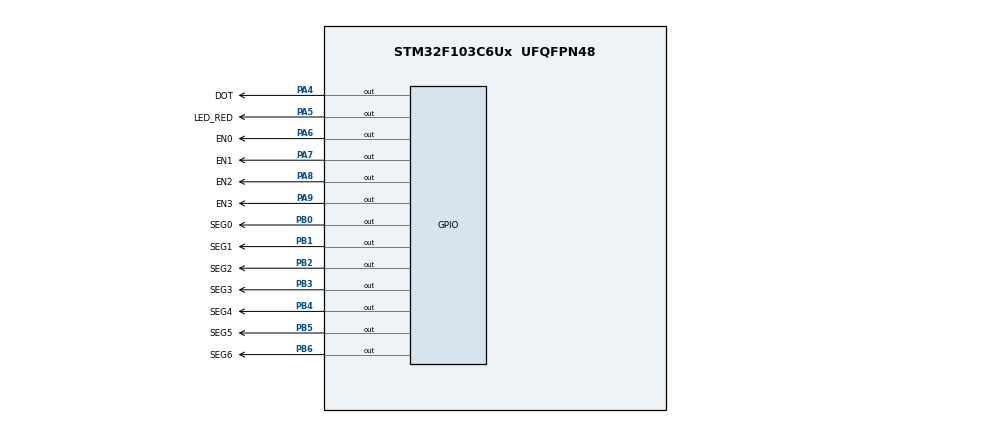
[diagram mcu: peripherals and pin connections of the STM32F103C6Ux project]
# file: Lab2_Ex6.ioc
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Mcu.Family=STM32F1
Mcu.Name=STM32F103C6Ux
Mcu.Package=UFQFPN48
NVIC.PriorityGroup=NVIC_PRIORITYGROUP_4
NVIC.TIM2_IRQn=true\:0\:0\:false\:false\:true\:false\:true
PA13.Mode=Serial_Wire
PA13.Signal=SYS_JTMS-SWDIO
PA14.Mode=Serial_Wire
PA14.Signal=SYS_JTCK-SWCLK
PA4.GPIO_Label=DOT
PA4.PinState=GPIO_PIN_SET
PA4.Signal=GPIO_Output
PA5.GPIO_Label=LED_RED
PA5.PinState=GPIO_PIN_SET
PA5.Signal=GPIO_Output
PA6.GPIO_Label=EN0
PA6.PinState=GPIO_PIN_SET
PA6.Signal=GPIO_Output
PA7.GPIO_Label=EN1
PA7.PinState=GPIO_PIN_SET
PA7.Signal=GPIO_Output
PA8.GPIO_Label=EN2
PA8.PinState=GPIO_PIN_SET
PA8.Signal=GPIO_Output
PA9.GPIO_Label=EN3
PA9.PinState=GPIO_PIN_SET
PA9.Signal=GPIO_Output
PB0.GPIO_Label=SEG0
PB0.PinState=GPIO_PIN_SET
PB0.Signal=GPIO_Output
PB1.GPIO_Label=SEG1
PB1.PinState=GPIO_PIN_SET
PB1.Signal=GPIO_Output
PB2.GPIO_Label=SEG2
PB2.PinState=GPIO_PIN_SET
PB2.Signal=GPIO_Output
PB3.GPIO_Label=SEG3
PB3.PinState=GPIO_PIN_SET
PB3.Signal=GPIO_Output
PB4.GPIO_Label=SEG4
PB4.PinState=GPIO_PIN_SET
PB4.Signal=GPIO_Output
PB5.GPIO_Label=SEG5
PB5.PinState=GPIO_PIN_SET
PB5.Signal=GPIO_Output
PB6.GPIO_Label=SEG6
PB6.PinState=GPIO_PIN_SET
PB6.Signal=GPIO_Output
ProjectManager.HeapSize=0x200
ProjectManager.StackSize=0x400
ProjectManager.TargetToolchain=STM32CubeIDE
RCC.APB1Freq_Value=8000000
RCC.APB2Freq_Value=8000000
TIM2.Period=9
TIM2.Prescaler=7999
VP_TIM2_VS_ClockSourceINT.Mode=Internal
board=custom

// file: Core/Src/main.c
/* USER CODE BEGIN Header */
/**
  ******************************************************************************
  * @file           : main.c
  * @brief          : Main program body
  *                   Lab 2 - Exercise 6 - Them software timer, bo HAL_Delay
  ******************************************************************************
  * @attention
  *
  * <h2><center>&copy; Copyright (c) 2026 STMicroelectronics.
  * All rights reserved.</center></h2>
  *
  * This software component is licensed by ST under BSD 3-Clause license,
  * the "License"; You may not use this file except in compliance with the
  * License. You may obtain a copy of the License at:
  *                        opensource.org/licenses/BSD-3-Clause
  *
  ******************************************************************************
  */
/* USER CODE END Header */
#include "main.h"

/* USER CODE BEGIN PD */
/* LED 7 doan common anode -> doan sang khi xuat muc 0 */
#define SEG_ON            GPIO_PIN_RESET
#define SEG_OFF           GPIO_PIN_SET

/* PNP: xuat muc 0 -> transistor dan -> LED 7 doan duoc cap nguon */
#define EN_ON             GPIO_PIN_RESET
#define EN_OFF            GPIO_PIN_SET

#define MAX_LED           4
#define SWITCH_TIME_MS    (1000 / MAX_LED)         /* 250 ms */
#define TICKS_SWITCH      (SWITCH_TIME_MS / 10)
#define DOT_TIME_MS       1000
#define TICKS_DOT         (DOT_TIME_MS / 10)
#define CLOCK_TICK_MS     1000                     /* nhip 1 giay cua dong ho */
/* USER CODE END PD */

TIM_HandleTypeDef htim2;

void SystemClock_Config(void);
static void MX_GPIO_Init(void);
static void MX_TIM2_Init(void);

/* USER CODE BEGIN 0 */
int index_led = 0;
int led_buffer[MAX_LED] = {0, 0, 0, 0};

int timer_counter = 0;
int dot_counter   = 0;
int dot_state     = 0;

/* --- Dong ho: gio / phut / giay --- */
int hour = 15, minute = 8, second = 50;

/* ====================== SOFTWARE TIMER ======================
   Moi lan ngat TIM2 (10 ms) thi timer_run() dem lui 1 nhip.
   Dem ve 0 thi dung co timerX_flag cho main() biet "da den han". */
#define TIMER_CYCLE   10          /* chu ky ngat TIM2, don vi ms */

int timer0_counter = 0;
int timer0_flag    = 0;

void setTimer0(int duration)
{
  timer0_counter = duration / TIMER_CYCLE;   /* doi ms -> so nhip ngat */
  timer0_flag    = 0;
}

void timer_run(void)
{
  if (timer0_counter > 0) {
    timer0_counter--;
    if (timer0_counter == 0) timer0_flag = 1;
  }
}

/* Bang ma 7 doan, bit0..bit6 = doan a..g (kieu gfedcba).
   LED common anode: doan SANG khi chan tin hieu o muc 0. */
const uint8_t SEG_CODE[10] = {
  0x3F, 0x06, 0x5B, 0x4F, 0x66, 0x6D, 0x7D, 0x07, 0x7F, 0x6F
};

void display7SEG(int num)
{
  if (num < 0 || num > 9) return;                 /* chong tran bang    */
  for (int i = 0; i < 7; i++) {                   /* SEG0..SEG6 = PB0..PB6 */
    HAL_GPIO_WritePin(SEG0_GPIO_Port, (uint16_t)(SEG0_Pin << i),
                      ((SEG_CODE[num] >> i) & 1) ? SEG_ON : SEG_OFF);
  }
}

void update7SEG(int index)
{
  /* B1: TAT het 4 LED truoc. Neu bo buoc nay, du lieu cua LED cu con
         nam tren bus SEG trong luc LED moi da sang -> bong mo (ghosting). */
  HAL_GPIO_WritePin(EN0_GPIO_Port, EN0_Pin | EN1_Pin | EN2_Pin | EN3_Pin, EN_OFF);

  /* B2: dat du lieu  ->  B3: bat DUNG 1 LED */
  switch (index) {
    case 0:  display7SEG(led_buffer[0]);
             HAL_GPIO_WritePin(EN0_GPIO_Port, EN0_Pin, EN_ON);  break;
    case 1:  display7SEG(led_buffer[1]);
             HAL_GPIO_WritePin(EN1_GPIO_Port, EN1_Pin, EN_ON);  break;
    case 2:  display7SEG(led_buffer[2]);
             HAL_GPIO_WritePin(EN2_GPIO_Port, EN2_Pin, EN_ON);  break;
    case 3:  display7SEG(led_buffer[3]);
             HAL_GPIO_WritePin(EN3_GPIO_Port, EN3_Pin, EN_ON);  break;
    default: break;
  }
}

/* Doi gio:phut thanh 4 chu so cho 4 LED 7 doan.
   So 1 chu so tu dong co so 0 o truoc, vi du 8 gio -> "08". */
void updateClockBuffer(void)
{
  led_buffer[0] = hour   / 10;
  led_buffer[1] = hour   % 10;
  led_buffer[2] = minute / 10;
  led_buffer[3] = minute % 10;
}
/* USER CODE END 0 */

int main(void)
{

  /* MCU Configuration--------------------------------------------------------*/

  /* Reset of all peripherals, Initializes the Flash interface and the Systick. */
  HAL_Init();

  /* Configure the system clock */
  SystemClock_Config();

  /* Initialize all configured peripherals */
  MX_GPIO_Init();
  MX_TIM2_Init();
  /* USER CODE BEGIN 2 */
  updateClockBuffer();
  HAL_TIM_Base_Start_IT(&htim2);

  /* Nap gio lan dau. Thieu dong nay thi timer0_counter = 0,
     timer_run() khong dem, timer0_flag khong bao gio len 1
     -> dong ho dung yen mai mai (cau hoi Report 1 cua bai 6). */
  setTimer0(CLOCK_TICK_MS);
  /* USER CODE END 2 */

  /* Infinite loop */
  /* USER CODE BEGIN WHILE */
  while (1)
  {
    /* Khong con HAL_Delay: vong lap chay lien tuc, chi lam khi den han.
       Trong luc cho, CPU hoan toan ranh de lam viec khac. */
    if (timer0_flag == 1) {
      setTimer0(CLOCK_TICK_MS);        /* hen gio cho chu ky ke tiep */

        second++;
        if (second >= 60) { second = 0; minute++; }
        if (minute >= 60) { minute = 0; hour++;   }
        if (hour   >= 24) { hour   = 0;           }
        updateClockBuffer();
    }
    /* USER CODE END WHILE */

  }
}

void SystemClock_Config(void)
{
  RCC_OscInitTypeDef RCC_OscInitStruct = {0};
  RCC_ClkInitTypeDef RCC_ClkInitStruct = {0};

  /** Initializes the RCC Oscillators according to the specified parameters
  * in the RCC_OscInitTypeDef structure.
  */
  RCC_OscInitStruct.OscillatorType = RCC_OSCILLATORTYPE_HSI;
  RCC_OscInitStruct.HSIState = RCC_HSI_ON;
  RCC_OscInitStruct.HSICalibrationValue = RCC_HSICALIBRATION_DEFAULT;
  RCC_OscInitStruct.PLL.PLLState = RCC_PLL_NONE;
  if (HAL_RCC_OscConfig(&RCC_OscInitStruct) != HAL_OK)
  {
    Error_Handler();
  }
  /** Initializes the CPU, AHB and APB buses clocks
  */
  RCC_ClkInitStruct.ClockType = RCC_CLOCKTYPE_HCLK|RCC_CLOCKTYPE_SYSCLK
                              |RCC_CLOCKTYPE_PCLK1|RCC_CLOCKTYPE_PCLK2;
  RCC_ClkInitStruct.SYSCLKSource = RCC_SYSCLKSOURCE_HSI;
  RCC_ClkInitStruct.AHBCLKDivider = RCC_SYSCLK_DIV1;
  RCC_ClkInitStruct.APB1CLKDivider = RCC_HCLK_DIV1;
  RCC_ClkInitStruct.APB2CLKDivider = RCC_HCLK_DIV1;

  if (HAL_RCC_ClockConfig(&RCC_ClkInitStruct, FLASH_LATENCY_0) != HAL_OK)
  {
    Error_Handler();
  }
}

static void MX_GPIO_Init(void)
{
  GPIO_InitTypeDef GPIO_InitStruct = {0};

  /* GPIO Ports Clock Enable */
  __HAL_RCC_GPIOA_CLK_ENABLE();
  __HAL_RCC_GPIOB_CLK_ENABLE();

  /*Configure GPIO pin Output Level */
  HAL_GPIO_WritePin(GPIOA, DOT_Pin|LED_RED_Pin|EN0_Pin
                          |EN1_Pin|EN2_Pin|EN3_Pin, GPIO_PIN_SET);

  /*Configure GPIO pin Output Level */
  HAL_GPIO_WritePin(GPIOB, SEG0_Pin|SEG1_Pin|SEG2_Pin
                          |SEG3_Pin|SEG4_Pin|SEG5_Pin
                          |SEG6_Pin, GPIO_PIN_SET);

  /*Configure GPIO pins : DOT_Pin LED_RED_Pin EN0_Pin EN1_Pin EN2_Pin EN3_Pin */
  GPIO_InitStruct.Pin = DOT_Pin|LED_RED_Pin|EN0_Pin
                          |EN1_Pin|EN2_Pin|EN3_Pin;
  GPIO_InitStruct.Mode = GPIO_MODE_OUTPUT_PP;
  GPIO_InitStruct.Pull = GPIO_NOPULL;
  GPIO_InitStruct.Speed = GPIO_SPEED_FREQ_LOW;
  HAL_GPIO_Init(GPIOA, &GPIO_InitStruct);

  /*Configure GPIO pins : SEG0_Pin SEG1_Pin SEG2_Pin SEG3_Pin SEG4_Pin SEG5_Pin SEG6_Pin */
  GPIO_InitStruct.Pin = SEG0_Pin|SEG1_Pin|SEG2_Pin
                          |SEG3_Pin|SEG4_Pin|SEG5_Pin
                          |SEG6_Pin;
  GPIO_InitStruct.Mode = GPIO_MODE_OUTPUT_PP;
  GPIO_InitStruct.Pull = GPIO_NOPULL;
  GPIO_InitStruct.Speed = GPIO_SPEED_FREQ_LOW;
  HAL_GPIO_Init(GPIOB, &GPIO_InitStruct);

}
static void MX_TIM2_Init(void)
{

  TIM_ClockConfigTypeDef sClockSourceConfig = {0};
  TIM_MasterConfigTypeDef sMasterConfig = {0};

  htim2.Instance = TIM2;
  htim2.Init.Prescaler = 7999;
  htim2.Init.CounterMode = TIM_COUNTERMODE_UP;
  htim2.Init.Period = 9;
  htim2.Init.ClockDivision = TIM_CLOCKDIVISION_DIV1;
  htim2.Init.AutoReloadPreload = TIM_AUTORELOAD_PRELOAD_DISABLE;
  if (HAL_TIM_Base_Init(&htim2) != HAL_OK)
  {
    Error_Handler();
  }
  sClockSourceConfig.ClockSource = TIM_CLOCKSOURCE_INTERNAL;
  if (HAL_TIM_ConfigClockSource(&htim2, &sClockSourceConfig) != HAL_OK)
  {
    Error_Handler();
  }
  sMasterConfig.MasterOutputTrigger = TIM_TRGO_RESET;
  sMasterConfig.MasterSlaveMode = TIM_MASTERSLAVEMODE_DISABLE;
  if (HAL_TIMEx_MasterConfigSynchronization(&htim2, &sMasterConfig) != HAL_OK)
  {
    Error_Handler();
  }

}

/* USER CODE BEGIN 4 */
void HAL_TIM_PeriodElapsedCallback(TIM_HandleTypeDef *htim)
{
  if (htim->Instance == TIM2) {
    timer_run();                       /* dem lui cac software timer */

    /* Quet LED 7 doan va DOT van con nam trong ngat
       -> Exercise 7 va 8 se chuyen dan ra main() */
    timer_counter++;
    if (timer_counter >= TICKS_SWITCH) {
      timer_counter = 0;
      update7SEG(index_led++);
      if (index_led >= MAX_LED) index_led = 0;
    }

    dot_counter++;
    if (dot_counter >= TICKS_DOT) {
      dot_counter = 0;
      dot_state   = !dot_state;
      HAL_GPIO_WritePin(DOT_GPIO_Port, DOT_Pin,
                        dot_state ? GPIO_PIN_SET : GPIO_PIN_RESET);
    }
  }
}
/* USER CODE END 4 */

void Error_Handler(void)
{
  __disable_irq();
  while (1)
  {
  }
}

/************************ (C) COPYRIGHT STMicroelectronics *****END OF FILE****/
